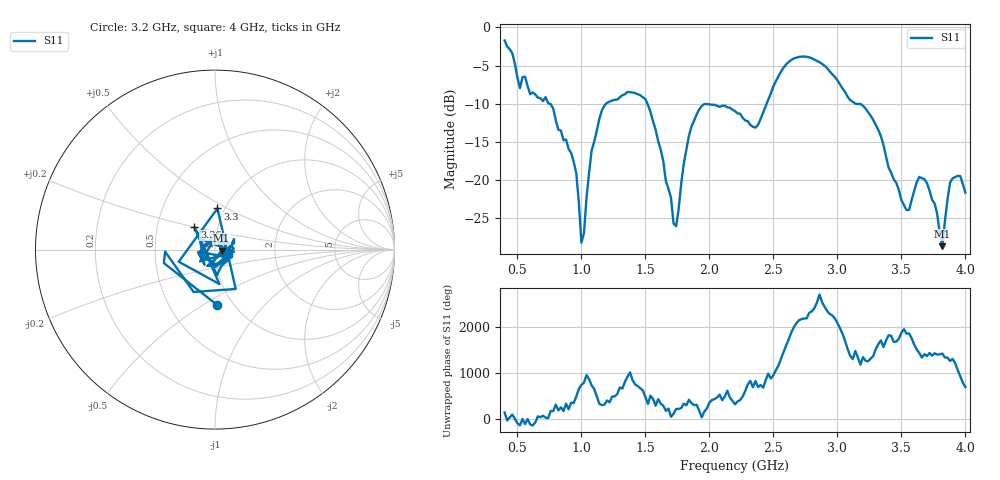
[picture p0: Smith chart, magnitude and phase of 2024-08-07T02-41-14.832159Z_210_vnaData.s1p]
!Created with skrf (http://scikit-rf.org).
# Hz S RI R 50.0
!freq ReS11 ImS11
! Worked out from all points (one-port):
!   181 points, 400 MHz to 4 GHz, reference 50 ohm
!   lowest |S11| = -28.6 dB at 3.82 GHz (marker M1), VSWR 1.08, Z = 53.8 - j0.565 ohm
!   |S11| at or under -10 dB: 753.8 MHz to 1.193 GHz (438.8 MHz wide, 45.1 % of centre); 1.516 GHz to 2.447 GHz (930.8 MHz wide, 47 % of centre); 3.147 GHz to end of sweep
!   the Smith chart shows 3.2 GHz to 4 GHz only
!   S11 on the Smith chart (normalised r, x): 3.2 GHz: 0.84, -0.57; 3.3 GHz: 0.92, +0.45; 3.36 GHz: 0.77, +0.20; 4 GHz: 1.17, -0.06
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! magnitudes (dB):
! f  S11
! 400 MHz  -1.7
! 520 MHz  -7.9
! 720 MHz  -9.1
! 860 MHz  -14.8
! 960 MHz  -19.1
! 1 GHz  -28.2
! 1.08 GHz  -16.1
! 1.14 GHz  -12.0
! 1.3 GHz  -9.1
! 1.5 GHz  -9.4
! 1.62 GHz  -16.0
! 1.72 GHz  -25.7
! 1.76 GHz  -23.8
! 1.84 GHz  -14.2
! 1.92 GHz  -10.7
! 2.2 GHz  -11.0
! 2.36 GHz  -13.1
! 2.66 GHz  -4.1
! 2.88 GHz  -4.8
! 3.1 GHz  -9.5
! 3.2 GHz  -10.3
! 3.3 GHz  -12.8
! 3.36 GHz  -15.4
! 3.56 GHz  -23.9
! 3.68 GHz  -19.9
! 3.82 GHz  -28.6
! 3.88 GHz  -20.4
! 4 GHz  -21.6
